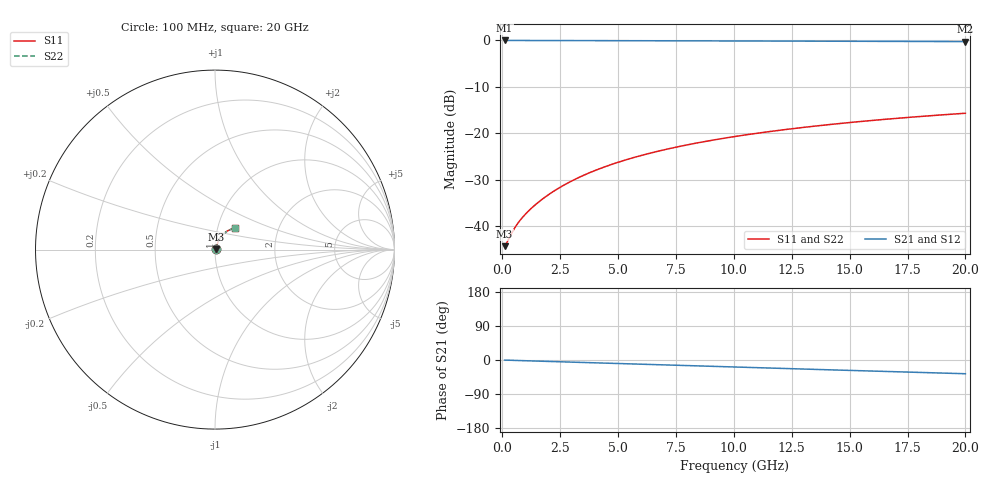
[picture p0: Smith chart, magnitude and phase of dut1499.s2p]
! Touchstone file exported from HFSS 2026.1.0
!  File:  C:/ffzhzh/LocalFiles/Ansys_Project_Files/temp_train_BSMRDL_1499_1783181722_22436.aedt
!  Generated:  12:16:29 AM Jul  5, 2026
!  Design:  BSMRDL
!  Project:  temp_train_BSMRDL_1499_1783181722_22436
! Variables:
!  h_bsmrdl = 2.72um
!  h_ox = 20um
!  h_rdl = 5um
!  h_sub = 80um
!  h_tmrdl = 5um
!  h_tsv = 80um
!  h_via = 3um
!  l_bsmrdl = 630.31um
!  l_sub = 1030.31um
!  l_tmrdl = 200um
!  m_sub = 200um
!  pitch = 20.19um
!  r_tsv = 6um
!  s_tmrdl = 10um
!  w_bsmrdl = 14.2um
!  w_sub = 500um
!  w_tmrdl = 12um
!  x_tsv_center1 = 206um
!  x_tsv_center2 = 850.51um
!  x_tsv_center3 = 1062.51um
!  x_tsv_center4 = 1707.02um
!  x_tsv_center5 = 1919.02um
!  x_tsv_center6 = 2563.53um
# GHz S MA R 50.000000
! Terminal data exported
! Port[1] = BSM_RDL1_1_T1
! Port[2] = BSM_RDL1_1_T2
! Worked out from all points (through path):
!   200 points, 100 MHz to 20 GHz, reference 50 ohm
!   highest |S21| = -0.05 dB at 100 MHz (marker M1); lowest = -0.3 dB at 20 GHz (marker M2)
!   group delay of S21, straight-line fit = 5.03 ps
!   lowest |S11| = -44.3 dB at 100 MHz (marker M3), VSWR 1.01, Z = 50.6 + j0.136 ohm
!   |S11| at or under -10 dB: start of sweep to end of sweep
!   |S22| runs from -44.3 to -15.7 dB; largest |S21 - S12| = 3.1e-15
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0.1  0.006065 12.8  0.9941 -0.2  0.9941 -0.2  0.006065 12.8
! Gamma 0 0 0 0
! Port Impedance 50 0 50 0
0.2  0.00664 23.4  0.9939 -0.4  0.9939 -0.4  0.00664 23.4
0.4  0.008308 36.9  0.9934 -0.8  0.9934 -0.8  0.008308 36.9
0.5  0.009204 40.9  0.9931 -1.0  0.9931 -1.0  0.009204 40.9
0.7  0.01095 46.6  0.9926 -1.4  0.9926 -1.4  0.01095 46.6
1  0.01343 52.3  0.9921 -2.0  0.9921 -2.0  0.01344 52.3
1.3  0.01589 56.5  0.9917 -2.5  0.9917 -2.5  0.01589 56.5
1.8  0.02006 61.4  0.9913 -3.4  0.9913 -3.4  0.02006 61.4
2.3  0.02437 64.5  0.9909 -4.4  0.9909 -4.4  0.02437 64.4
2.9  0.02967 66.7  0.9905 -5.5  0.9905 -5.5  0.02967 66.7
3.5  0.03504 67.9  0.99 -6.6  0.99 -6.6  0.03504 67.9
4.2  0.04134 68.5  0.9894 -7.9  0.9894 -7.9  0.04134 68.5
5  0.04853 68.5  0.9886 -9.4  0.9886 -9.4  0.04854 68.5
5.9  0.05655 68.0  0.9876 -11.0  0.9876 -11.0  0.05656 68.0
6.8  0.06447 67.2  0.9866 -12.7  0.9866 -12.7  0.06449 67.1
8.3  0.07739 65.4  0.9845 -15.4  0.9845 -15.4  0.07741 65.3
10.1  0.09236 62.8  0.9819 -18.7  0.9819 -18.7  0.09239 62.7
11.7  0.1051 60.3  0.9795 -21.6  0.9795 -21.6  0.1052 60.2
13.4  0.1182 57.6  0.9768 -24.6  0.9768 -24.6  0.1182 57.5
15  0.13 55.1  0.9742 -27.5  0.9742 -27.5  0.13 54.9
16.7  0.1419 52.3  0.9715 -30.5  0.9715 -30.5  0.142 52.2
20  0.1636 47.0  0.9663 -36.3  0.9663 -36.3  0.1637 46.8
